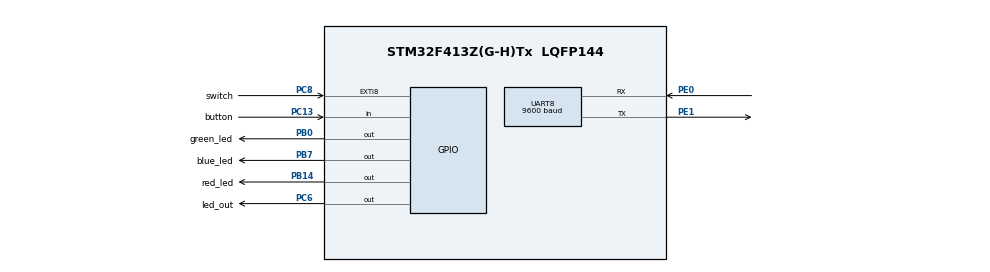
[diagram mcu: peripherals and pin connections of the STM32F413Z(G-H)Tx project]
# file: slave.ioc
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Mcu.Family=STM32F4
Mcu.Name=STM32F413Z(G-H)Tx
Mcu.Package=LQFP144
NVIC.EXTI9_5_IRQn=true\:0\:0\:false\:false\:true\:true\:true
NVIC.PriorityGroup=NVIC_PRIORITYGROUP_4
NVIC.UART8_IRQn=true\:0\:0\:false\:false\:true\:true\:true
PA13.Mode=Serial_Wire
PA13.Signal=SYS_JTMS-SWDIO
PA14.Mode=Serial_Wire
PA14.Signal=SYS_JTCK-SWCLK
PB0.GPIO_Label=green_led
PB0.Signal=GPIO_Output
PB14.GPIO_Label=red_led
PB14.Signal=GPIO_Output
PB7.GPIO_Label=blue_led
PB7.Signal=GPIO_Output
PC13.GPIO_Label=button
PC13.Signal=GPIO_Input
PC14-OSC32_IN.Mode=LSE-External-Oscillator
PC14-OSC32_IN.Signal=RCC_OSC32_IN
PC15-OSC32_OUT.Mode=LSE-External-Oscillator
PC15-OSC32_OUT.Signal=RCC_OSC32_OUT
PC6.GPIO_Label=led_out
PC6.Signal=GPIO_Output
PC8.GPIO_Label=switch
PC8.GPIO_ModeDefaultEXTI=GPIO_MODE_IT_RISING_FALLING
PC8.GPIO_PuPd=GPIO_NOPULL
PC8.Signal=GPXTI8
PE0.Mode=Asynchronous
PE0.Signal=UART8_RX
PE1.Mode=Asynchronous
PE1.Signal=UART8_TX
ProjectManager.HeapSize=0x200
ProjectManager.StackSize=0x400
ProjectManager.TargetToolchain=STM32CubeIDE
RCC.CortexFreq_Value=16000000
RCC.USBFreq_Value=96000000
RCC.VCOOutputFreq_Value=192000000
UART8.BaudRate=9600
UART8.VirtualMode=Asynchronous
board=custom

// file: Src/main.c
/* USER CODE BEGIN Header */
/**
 * SLAVE
 * SLAVE
 * SLAVE
 * SLAVE
 * SLAVE
  ******************************************************************************
  * @file           : main.c
  * @brief          : Main program body
  ******************************************************************************
  * @attention
  *
  * <h2><center>&copy; Copyright (c) 2019 STMicroelectronics.
  * All rights reserved.</center></h2>
  *
  * This software component is licensed by ST under BSD 3-Clause license,
  * the "License"; You may not use this file except in compliance with the
  * License. You may obtain a copy of the License at:
  *                        opensource.org/licenses/BSD-3-Clause
  *
  ******************************************************************************
  */

/* USER CODE END Header */

#include "main.h"

/* USER CODE BEGIN Includes */
#include "string.h"
/* USER CODE END Includes */

UART_HandleTypeDef huart8;

void SystemClock_Config(void);
static void MX_GPIO_Init(void);
static void MX_UART8_Init(void);

/* USER CODE BEGIN 0 */
uint32_t ticker = 0;

typedef struct  __attribute__ ((packed)) data_packet_t{
    int board_type : 4;
    int board_num : 4;
    uint8_t board_add;
    uint8_t state;
} data_packet;

union data_in{
	data_packet info_in;
	char info_in_buffer[3];
};

data_packet info_out;
union data_in data;

void HAL_UART_RxCpltCallback(UART_HandleTypeDef *huart)
{
	if(huart->Instance==UART8) {
		HAL_GPIO_TogglePin(red_led_GPIO_Port, red_led_Pin);
		HAL_GPIO_TogglePin(led_out_GPIO_Port, led_out_Pin);
		//HAL_GPIO_WritePin(led_out_GPIO_Port, led_out_Pin, data.info_in.state);
	}
	else{
		__NOP();
	}

}

/* USER CODE END 0 */

int main(void)
{

  /* MCU Configuration--------------------------------------------------------*/

  /* Reset of all peripherals, Initializes the Flash interface and the Systick. */
  HAL_Init();

  /* Configure the system clock */
  SystemClock_Config();

  /* Initialize all configured peripherals */
  MX_GPIO_Init();
  MX_UART8_Init();

  /* Infinite loop */
  /* USER CODE BEGIN WHILE */
  while (1)
  {

	  HAL_UART_Receive_IT(&huart8, data.info_in_buffer, 3);
	  ticker++;
	  if (ticker % 100000 == 0) {
		  HAL_GPIO_TogglePin(blue_led_GPIO_Port, blue_led_Pin);
	  }

	  if (ticker == 4294967295) {
		  ticker = 0;
	  }
    /* USER CODE END WHILE */

  }
}

void SystemClock_Config(void)
{
  RCC_OscInitTypeDef RCC_OscInitStruct = {0};
  RCC_ClkInitTypeDef RCC_ClkInitStruct = {0};

  /** Configure the main internal regulator output voltage
  */
  __HAL_RCC_PWR_CLK_ENABLE();
  __HAL_PWR_VOLTAGESCALING_CONFIG(PWR_REGULATOR_VOLTAGE_SCALE1);
  /** Initializes the CPU, AHB and APB busses clocks
  */
  RCC_OscInitStruct.OscillatorType = RCC_OSCILLATORTYPE_HSI;
  RCC_OscInitStruct.HSIState = RCC_HSI_ON;
  RCC_OscInitStruct.HSICalibrationValue = RCC_HSICALIBRATION_DEFAULT;
  RCC_OscInitStruct.PLL.PLLState = RCC_PLL_NONE;
  if (HAL_RCC_OscConfig(&RCC_OscInitStruct) != HAL_OK)
  {
    Error_Handler();
  }
  /** Initializes the CPU, AHB and APB busses clocks
  */
  RCC_ClkInitStruct.ClockType = RCC_CLOCKTYPE_HCLK|RCC_CLOCKTYPE_SYSCLK
                              |RCC_CLOCKTYPE_PCLK1|RCC_CLOCKTYPE_PCLK2;
  RCC_ClkInitStruct.SYSCLKSource = RCC_SYSCLKSOURCE_HSI;
  RCC_ClkInitStruct.AHBCLKDivider = RCC_SYSCLK_DIV1;
  RCC_ClkInitStruct.APB1CLKDivider = RCC_HCLK_DIV1;
  RCC_ClkInitStruct.APB2CLKDivider = RCC_HCLK_DIV1;

  if (HAL_RCC_ClockConfig(&RCC_ClkInitStruct, FLASH_LATENCY_0) != HAL_OK)
  {
    Error_Handler();
  }
}

static void MX_UART8_Init(void)
{

  huart8.Instance = UART8;
  huart8.Init.BaudRate = 9600;
  huart8.Init.WordLength = UART_WORDLENGTH_8B;
  huart8.Init.StopBits = UART_STOPBITS_1;
  huart8.Init.Parity = UART_PARITY_NONE;
  huart8.Init.Mode = UART_MODE_TX_RX;
  huart8.Init.HwFlowCtl = UART_HWCONTROL_NONE;
  huart8.Init.OverSampling = UART_OVERSAMPLING_16;
  if (HAL_UART_Init(&huart8) != HAL_OK)
  {
    Error_Handler();
  }

}

static void MX_GPIO_Init(void)
{
  GPIO_InitTypeDef GPIO_InitStruct = {0};

  /* GPIO Ports Clock Enable */
  __HAL_RCC_GPIOC_CLK_ENABLE();
  __HAL_RCC_GPIOB_CLK_ENABLE();
  __HAL_RCC_GPIOA_CLK_ENABLE();
  __HAL_RCC_GPIOE_CLK_ENABLE();

  /*Configure GPIO pin Output Level */
  HAL_GPIO_WritePin(GPIOB, green_led_Pin|red_led_Pin|blue_led_Pin, GPIO_PIN_RESET);

  /*Configure GPIO pin Output Level */
  HAL_GPIO_WritePin(led_out_GPIO_Port, led_out_Pin, GPIO_PIN_RESET);

  /*Configure GPIO pin : button_Pin */
  GPIO_InitStruct.Pin = button_Pin;
  GPIO_InitStruct.Mode = GPIO_MODE_INPUT;
  GPIO_InitStruct.Pull = GPIO_NOPULL;
  HAL_GPIO_Init(button_GPIO_Port, &GPIO_InitStruct);

  /*Configure GPIO pins : green_led_Pin red_led_Pin blue_led_Pin */
  GPIO_InitStruct.Pin = green_led_Pin|red_led_Pin|blue_led_Pin;
  GPIO_InitStruct.Mode = GPIO_MODE_OUTPUT_PP;
  GPIO_InitStruct.Pull = GPIO_NOPULL;
  GPIO_InitStruct.Speed = GPIO_SPEED_FREQ_LOW;
  HAL_GPIO_Init(GPIOB, &GPIO_InitStruct);

  /*Configure GPIO pin : led_out_Pin */
  GPIO_InitStruct.Pin = led_out_Pin;
  GPIO_InitStruct.Mode = GPIO_MODE_OUTPUT_PP;
  GPIO_InitStruct.Pull = GPIO_NOPULL;
  GPIO_InitStruct.Speed = GPIO_SPEED_FREQ_LOW;
  HAL_GPIO_Init(led_out_GPIO_Port, &GPIO_InitStruct);

  /*Configure GPIO pin : switch_Pin */
  GPIO_InitStruct.Pin = switch_Pin;
  GPIO_InitStruct.Mode = GPIO_MODE_IT_RISING_FALLING;
  GPIO_InitStruct.Pull = GPIO_NOPULL;
  HAL_GPIO_Init(switch_GPIO_Port, &GPIO_InitStruct);

  /* EXTI interrupt init*/
  HAL_NVIC_SetPriority(EXTI9_5_IRQn, 0, 0);
  HAL_NVIC_EnableIRQ(EXTI9_5_IRQn);

}

/* USER CODE BEGIN 4 */
void HAL_GPIO_EXTI_Callback(uint16_t GPIO_Pin)
{
	if (GPIO_Pin == switch_Pin) {
		info_out.board_add  =  49;
		info_out.state  =  48; //= HAL_GPIO_ReadPin(switch)
		info_out.board_type = 0b0001;
		info_out.board_num = 0b0100;
		HAL_UART_Transmit(&huart8,&info_out,sizeof(info_out),1000);
		HAL_GPIO_TogglePin(green_led_GPIO_Port, green_led_Pin);
	}
	else {
		__NOP ();
	}
}
/* USER CODE END 4 */

void Error_Handler(void)
{
}

/************************ (C) COPYRIGHT STMicroelectronics *****END OF FILE****/
